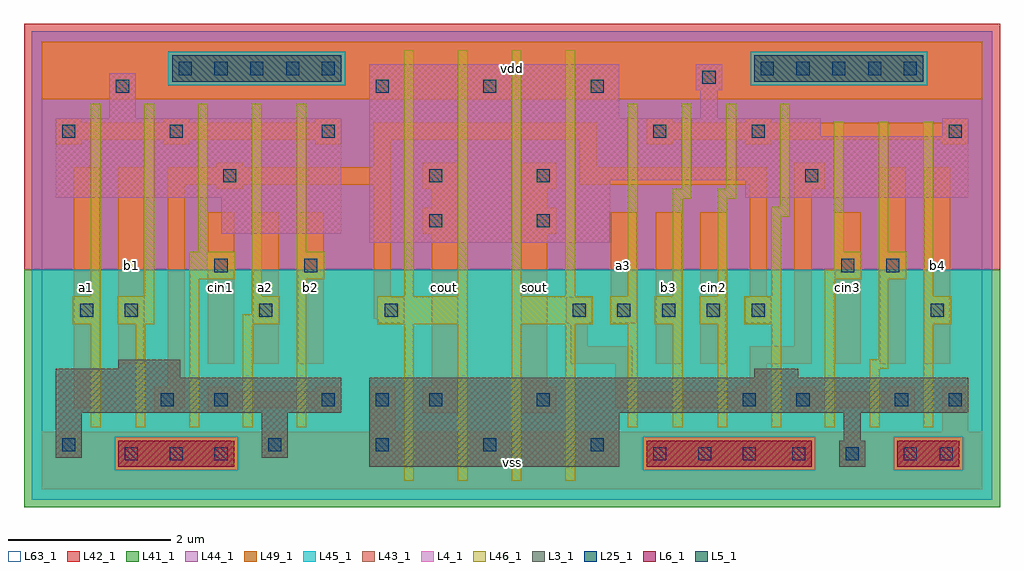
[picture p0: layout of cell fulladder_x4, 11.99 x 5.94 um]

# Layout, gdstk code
import gdstk
lib = gdstk.Library(unit=1e-6, precision=1e-09)
def R(c, l, rs):  # rectangles x0, y0, x1, y1
    for r in rs: c.add(gdstk.rectangle(r[:2], r[2:], *l))
def A(c, l, x, y, w, h, nx, ny, dx, dy):  # array of equal rectangles
    R(c, l, [(x+i*dx, y+j*dy, x+i*dx+w, y+j*dy+h) for i in range(nx) for j in range(ny)])
L3_1 = (3, 1)
L4_1 = (4, 1)
L5_1 = (5, 1)
L6_1 = (6, 1)
L25_1 = (25, 1)
L41_1 = (41, 1)
L42_1 = (42, 1)
L43_1 = (43, 1)
L44_1 = (44, 1)
L45_1 = (45, 1)
L46_1 = (46, 1)
L49_1 = (49, 1)
L63_1 = (63, 1)

fulladder_x4 = lib.new_cell('fulladder_x4')
R(fulladder_x4, L3_1, [(4.02,0.28,7.09,0.94), (9.795,0.28,10.115,0.6), (0.17,0.39,0.49,0.94), (2.7,0.39,3.02,0.94), (9.85,0.6,10.06,0.94), (0.17,0.94,3.68,1.37), (4.02,0.94,11.38,1.37), (0.17,1.37,1.7,1.48), (8.75,1.37,9.29,1.48), (0.94,1.48,1.7,1.59)])
R(fulladder_x4, L4_1, [(4.02,3.03,6.98,3.8), (2.205,3.14,3.68,3.58), (0.17,3.58,3.68,4.56), (8.64,3.58,11.38,3.8), (4.02,3.8,11.38,4.34), (4.02,4.34,9.565,4.56), (11.06,4.34,11.38,4.56), (0.83,4.56,1.15,5.11), (4.02,4.56,7.09,5.22), (8.09,4.56,8.3,4.9), (8.035,4.9,8.355,5.22)])
R(fulladder_x4, L5_1, [(1.6,5.01,3.68,5.33), (8.75,5.01,10.83,5.33)])
R(fulladder_x4, L6_1, [(0.94,0.28,2.36,0.6), (7.43,0.28,9.455,0.6), (10.51,0.28,11.27,0.6)])
A(fulladder_x4, L25_1, 1.02, 0.36, 0.16, 0.16, 3, 1, 0.55, 0)
A(fulladder_x4, L25_1, 7.51, 0.36, 0.16, 0.16, 3, 1, 0.55, 0)
A(fulladder_x4, L25_1, 2.78, 0.47, 0.16, 0.16, 4, 1, 1.32, 0)
A(fulladder_x4, L25_1, 3.44, 1.02, 0.16, 0.16, 3, 1, 0.66, 0)
A(fulladder_x4, L25_1, 6.52, 2.12, 0.16, 0.16, 5, 1, 0.55, 0)
A(fulladder_x4, L25_1, 4.1, 4.87, 0.16, 0.16, 3, 1, 1.32, 0)
A(fulladder_x4, L25_1, 1.68, 5.09, 0.16, 0.16, 5, 1, 0.44, 0)
A(fulladder_x4, L25_1, 8.83, 5.09, 0.16, 0.16, 5, 1, 0.44, 0)
R(fulladder_x4, L25_1, [(9.215,0.36,9.375,0.52), (9.875,0.36,10.035,0.52), (10.59,0.36,10.75,0.52), (11.03,0.36,11.19,0.52), (0.25,0.47,0.41,0.63), (1.46,1.02,1.62,1.18), (2.12,1.02,2.28,1.18), (6.08,1.02,6.24,1.18), (8.61,1.02,8.77,1.18), (9.27,1.02,9.43,1.18), (10.48,1.02,10.64,1.18), (11.14,1.02,11.3,1.18), (0.47,2.12,0.63,2.28), (1.02,2.12,1.18,2.28), (2.67,2.12,2.83,2.28), (4.21,2.12,4.37,2.28), (10.92,2.12,11.08,2.28), (2.12,2.67,2.28,2.83), (3.22,2.67,3.38,2.83), (9.82,2.67,9.98,2.83), (10.37,2.67,10.53,2.83), (4.76,3.22,4.92,3.38), (6.08,3.22,6.24,3.38), (2.23,3.77,2.39,3.93), (4.76,3.77,4.92,3.93), (6.08,3.77,6.24,3.93), (9.38,3.77,9.54,3.93), (0.25,4.32,0.41,4.48), (1.57,4.32,1.73,4.48), (3.44,4.32,3.6,4.48), (7.51,4.32,7.67,4.48), (8.72,4.32,8.88,4.48), (11.14,4.32,11.3,4.48), (0.91,4.87,1.07,5.03), (8.115,4.98,8.275,5.14)])
R(fulladder_x4, L41_1, [(-0.22,-0.22,11.77,2.695)])
R(fulladder_x4, L42_1, [(-0.22,2.695,11.77,5.72)])
R(fulladder_x4, L43_1, [(0.94,0.28,2.36,0.6), (4.02,0.28,7.09,0.94), (7.43,0.28,9.455,0.6), (9.795,0.28,10.115,0.6), (10.51,0.28,11.27,0.6), (0.17,0.39,0.49,0.94), (2.7,0.39,3.02,0.94), (9.85,0.6,10.06,0.94), (0.17,0.94,3.68,1.37), (4.02,0.94,11.38,1.37), (0.17,1.37,1.7,1.48), (8.75,1.37,9.29,1.48), (0.94,1.48,1.7,1.59), (4.02,3.03,6.98,3.8), (2.205,3.14,3.68,3.58), (0.17,3.58,3.68,4.56), (8.64,3.58,11.38,3.8), (4.02,3.8,11.38,4.34), (4.02,4.34,9.565,4.56), (11.06,4.34,11.38,4.56), (0.83,4.56,1.15,5.11), (4.02,4.56,7.09,5.22), (8.09,4.56,8.3,4.9), (8.035,4.9,8.355,5.22), (1.6,5.01,3.68,5.33), (8.75,5.01,10.83,5.33)])
R(fulladder_x4, L44_1, [(0.895,0.235,2.405,0.645), (7.385,0.235,9.5,0.645), (10.465,0.235,11.315,0.645), (-0.125,2.695,11.675,4.965), (-0.125,4.965,1.555,5.375), (3.725,4.965,8.705,5.375), (10.875,4.965,11.675,5.375), (-0.125,5.375,11.675,5.625)])
R(fulladder_x4, L45_1, [(-0.125,-0.125,11.675,0.235), (-0.125,0.235,0.895,0.645), (2.405,0.235,7.385,0.645), (9.5,0.235,10.465,0.645), (11.315,0.235,11.675,0.645), (-0.125,0.645,11.675,2.695), (1.555,4.965,3.725,5.375), (8.705,4.965,10.875,5.375)])
A(fulladder_x4, L46_1, 4.45, 0.105, 0.12, 1.925, 4, 1, 0.66, 0)
A(fulladder_x4, L46_1, 7.2, 0.765, 0.12, 1.265, 3, 1, 0.55, 0)
A(fulladder_x4, L46_1, 6.98, 2.03, 0.34, 0.34, 3, 1, 0.55, 0)
A(fulladder_x4, L46_1, 4.45, 2.37, 0.12, 3.025, 4, 1, 0.66, 0)
R(fulladder_x4, L46_1, [(0.6,0.765,0.72,2.03), (1.15,0.765,1.27,2.03), (1.81,0.765,1.93,2.58), (2.47,0.765,2.59,2.03), (3.13,0.765,3.25,2.58), (8.96,0.765,9.08,2.03), (9.62,0.765,9.74,2.58), (10.17,0.765,10.29,1.48), (10.83,0.765,10.95,2.03), (10.17,1.48,10.4,1.6), (10.28,1.6,10.4,2.58), (0.38,2.03,0.72,2.37), (0.93,2.03,1.38,2.37), (2.47,2.03,2.92,2.15), (4.12,2.03,5.23,2.37), (5.77,2.03,6.77,2.37), (8.63,2.03,9.08,2.37), (10.83,2.03,11.17,2.37), (2.58,2.15,2.92,2.37), (0.6,2.37,0.72,4.735), (1.26,2.37,1.38,4.735), (2.58,2.37,2.7,4.735), (7.2,2.37,7.32,4.735), (7.75,2.37,7.87,3.57), (8.3,2.37,8.42,3.57), (8.96,2.37,9.08,3.35), (10.83,2.37,10.95,4.515), (1.81,2.58,2.37,2.92), (3.13,2.58,3.47,2.92), (9.62,2.58,10.07,2.7), (10.28,2.58,10.62,2.92), (9.73,2.7,10.07,2.92), (1.92,2.92,2.04,4.735), (3.13,2.92,3.25,4.735), (9.73,2.92,9.85,4.515), (10.28,2.92,10.4,4.515), (8.96,3.35,9.19,3.47), (9.07,3.47,9.19,4.735), (7.75,3.57,7.98,3.69), (8.3,3.57,8.53,3.69), (7.86,3.69,7.98,4.735), (8.41,3.69,8.53,4.735)])
A(fulladder_x4, L49_1, 2.04, 1.545, 0.32, 1.86, 3, 1, 0.55, 0)
R(fulladder_x4, L49_1, [(0,0,11.55,0.71), (4.02,0.71,4.34,1.26), (11.06,0.71,11.38,1.26), (1.38,0.94,1.7,0.995), (2.04,0.94,2.36,0.995), (3.36,0.94,3.68,0.995), (4.68,0.94,5.11,1.26), (5.89,0.94,6.32,1.26), (8.53,0.94,8.905,0.995), (9.19,0.94,9.51,0.995), (10.4,0.94,10.72,0.995), (0.39,0.995,0.71,3.955), (1.38,0.995,1.755,1.26), (2.04,0.995,3.68,1.205), (7.045,0.995,8.905,1.205), (9.19,0.995,10.72,1.205), (2.04,1.205,2.36,1.26), (3.36,1.205,3.68,1.26), (7.045,1.205,7.255,1.545), (8.53,1.205,8.905,1.26), (9.19,1.205,9.51,1.26), (10.4,1.205,10.72,1.26), (1.545,1.26,1.755,3.745), (4.79,1.26,5.11,3.14), (5.89,1.26,6.21,3.14), (8.695,1.26,8.905,1.545), (0.94,1.545,1.26,3.955), (6.495,1.545,7.255,1.755), (7.54,1.545,7.86,3.405), (8.09,1.545,8.41,3.405), (8.695,1.545,9.455,1.755), (9.74,1.545,10.06,3.405), (10.29,1.545,10.61,3.955), (10.84,1.545,11.16,3.955), (6.495,1.755,6.705,2.04), (9.245,1.755,9.455,3.69), (4.13,2.04,4.45,2.095), (6.44,2.04,6.76,2.36), (6.99,2.04,7.31,3.405), (8.64,2.04,8.96,2.36), (4.075,2.095,4.45,2.36), (4.075,2.36,4.285,3.745), (8.695,2.36,8.905,3.745), (4.68,3.14,5.11,3.46), (5.89,3.14,6.32,3.46), (4.79,3.46,5.11,3.69), (5.89,3.46,6.21,3.69), (2.15,3.69,2.47,3.745), (4.68,3.69,5.11,4.01), (5.89,3.69,6.32,4.01), (9.245,3.69,9.62,4.01), (1.545,3.745,4.285,3.955), (6.605,3.745,8.905,3.955), (2.15,3.955,2.47,4.01), (4.075,3.955,4.285,4.295), (6.605,3.955,6.815,4.295), (0.17,4.24,0.49,4.295), (1.49,4.24,1.81,4.295), (3.36,4.24,3.68,4.295), (7.43,4.24,7.75,4.295), (8.64,4.24,8.96,4.295), (11.06,4.24,11.38,4.295), (0.17,4.295,3.68,4.505), (4.075,4.295,6.815,4.505), (7.43,4.295,11.38,4.505), (0.17,4.505,0.49,4.56), (1.49,4.505,1.81,4.56), (3.36,4.505,3.68,4.56), (7.43,4.505,7.75,4.56), (8.64,4.505,8.96,4.56), (11.06,4.505,11.38,4.56), (0,4.79,11.55,5.5)])
R(fulladder_x4, L63_1, [(0,0,11.55,5.5)])
fulladder_x4.add(gdstk.Label('a1', (0.55,2.475), layer=49, texttype=1))
fulladder_x4.add(gdstk.Label('b1', (1.1,2.75), layer=49, texttype=1))
fulladder_x4.add(gdstk.Label('b1', (1.1,2.75), layer=49, texttype=1))
fulladder_x4.add(gdstk.Label('a1', (0.55,2.475), layer=49, texttype=1))
fulladder_x4.add(gdstk.Label('cin1', (2.2,2.475), layer=49, texttype=1))
fulladder_x4.add(gdstk.Label('cin1', (2.2,2.475), layer=49, texttype=1))
fulladder_x4.add(gdstk.Label('b2', (3.3,2.475), layer=49, texttype=1))
fulladder_x4.add(gdstk.Label('a2', (2.75,2.475), layer=49, texttype=1))
fulladder_x4.add(gdstk.Label('a2', (2.75,2.475), layer=49, texttype=1))
fulladder_x4.add(gdstk.Label('b2', (3.3,2.475), layer=49, texttype=1))
fulladder_x4.add(gdstk.Label('vss', (5.775,0.33), layer=49, texttype=1))
fulladder_x4.add(gdstk.Label('vss', (5.775,0.33), layer=49, texttype=1))
fulladder_x4.add(gdstk.Label('sout', (6.05,2.475), layer=49, texttype=1))
fulladder_x4.add(gdstk.Label('cout', (4.95,2.475), layer=49, texttype=1))
fulladder_x4.add(gdstk.Label('sout', (6.05,2.475), layer=49, texttype=1))
fulladder_x4.add(gdstk.Label('cout', (4.95,2.475), layer=49, texttype=1))
fulladder_x4.add(gdstk.Label('vdd', (5.775,5.17), layer=49, texttype=1))
fulladder_x4.add(gdstk.Label('vdd', (5.775,5.17), layer=49, texttype=1))
fulladder_x4.add(gdstk.Label('b3', (7.7,2.475), layer=49, texttype=1))
fulladder_x4.add(gdstk.Label('cin2', (8.25,2.475), layer=49, texttype=1))
fulladder_x4.add(gdstk.Label('a3', (7.15,2.75), layer=49, texttype=1))
fulladder_x4.add(gdstk.Label('cin2', (8.25,2.475), layer=49, texttype=1))
fulladder_x4.add(gdstk.Label('b3', (7.7,2.475), layer=49, texttype=1))
fulladder_x4.add(gdstk.Label('a3', (7.15,2.75), layer=49, texttype=1))
fulladder_x4.add(gdstk.Label('b4', (11,2.75), layer=49, texttype=1))
fulladder_x4.add(gdstk.Label('cin3', (9.9,2.475), layer=49, texttype=1))
fulladder_x4.add(gdstk.Label('b4', (11,2.75), layer=49, texttype=1))
fulladder_x4.add(gdstk.Label('cin3', (9.9,2.475), layer=49, texttype=1))

lib.write_gds('fulladder_x4.gds')
